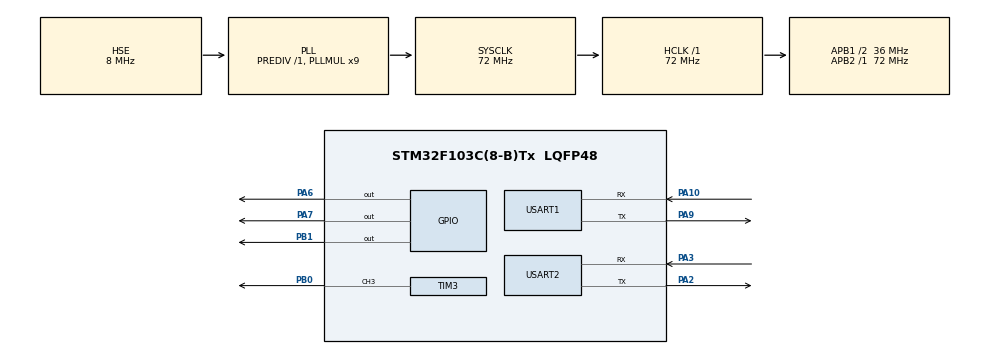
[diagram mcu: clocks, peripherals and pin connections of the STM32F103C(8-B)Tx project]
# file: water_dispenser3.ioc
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Dma.Request0=USART1_RX
Dma.USART1_RX.0.Direction=DMA_PERIPH_TO_MEMORY
Dma.USART1_RX.0.Instance=DMA1_Channel5
Dma.USART1_RX.0.MemDataAlignment=DMA_MDATAALIGN_BYTE
Dma.USART1_RX.0.MemInc=DMA_MINC_ENABLE
Dma.USART1_RX.0.Mode=DMA_CIRCULAR
Dma.USART1_RX.0.PeriphDataAlignment=DMA_PDATAALIGN_BYTE
Dma.USART1_RX.0.PeriphInc=DMA_PINC_DISABLE
Dma.USART1_RX.0.Priority=DMA_PRIORITY_HIGH
Mcu.Family=STM32F1
Mcu.Name=STM32F103C(8-B)Tx
Mcu.Package=LQFP48
NVIC.DMA1_Channel5_IRQn=true\:0\:0\:false\:false\:true\:false\:true\:true
NVIC.PriorityGroup=NVIC_PRIORITYGROUP_4
NVIC.USART1_IRQn=true\:0\:0\:false\:false\:true\:true\:true\:true
PA10.Mode=Asynchronous
PA10.Signal=USART1_RX
PA13.Mode=Serial_Wire
PA13.Signal=SYS_JTMS-SWDIO
PA14.Mode=Serial_Wire
PA14.Signal=SYS_JTCK-SWCLK
PA2.Mode=Asynchronous
PA2.Signal=USART2_TX
PA3.Mode=Asynchronous
PA3.Signal=USART2_RX
PA6.Signal=GPIO_Output
PA7.Signal=GPIO_Output
PA9.Mode=Asynchronous
PA9.Signal=USART1_TX
PB0.Signal=S_TIM3_CH3
PB1.Signal=GPIO_Output
PD0-OSC_IN.Mode=HSE-External-Oscillator
PD0-OSC_IN.Signal=RCC_OSC_IN
PD1-OSC_OUT.Mode=HSE-External-Oscillator
PD1-OSC_OUT.Signal=RCC_OSC_OUT
ProjectManager.HeapSize=0x200
ProjectManager.StackSize=0x400
ProjectManager.TargetToolchain=STM32CubeIDE
RCC.AHBFreq_Value=72000000
RCC.APB1CLKDivider=RCC_HCLK_DIV2
RCC.APB1Freq_Value=36000000
RCC.APB1TimFreq_Value=72000000
RCC.APB2Freq_Value=72000000
RCC.APB2TimFreq_Value=72000000
RCC.HCLKFreq_Value=72000000
RCC.PLLMUL=RCC_PLL_MUL9
RCC.PLLSourceVirtual=RCC_PLLSOURCE_HSE
RCC.SYSCLKFreq_VALUE=72000000
RCC.SYSCLKSource=RCC_SYSCLKSOURCE_PLLCLK
RCC.USBFreq_Value=72000000
SH.S_TIM3_CH3.0=TIM3_CH3,PWM Generation3 CH3
TIM3.Channel-PWM\ Generation3\ CH3=TIM_CHANNEL_3
TIM3.Period=999
TIM3.Prescaler=35
TIM3.Pulse-PWM\ Generation3\ CH3=850
USART1.VirtualMode=VM_ASYNC
USART2.VirtualMode=VM_ASYNC
VP_TIM3_VS_ClockSourceINT.Mode=Internal
board=custom

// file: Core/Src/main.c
/* USER CODE BEGIN Header */
/**
  ******************************************************************************
  * @file           : main.c
  * @brief          : Main program body
  * @version        : 5.6
  * @note           : 增加了自动重启机制
  ******************************************************************************
  * @attention
  *
  * Copyright (c) 2025 STMicroelectronics.
  * All rights reserved.
  *
  * This software is licensed under terms that can be found in the LICENSE file
  * in the root directory of this software component.
  * If no LICENSE file comes with this software, it is provided AS-IS.
  *
  ******************************************************************************
  */
/* USER CODE END Header */
#include "main.h"
#include "dma.h"
#include "tim.h"
#include "usart.h"
#include "gpio.h"

/* USER CODE BEGIN Includes */
#include <string.h>
#include <stdarg.h>
#include <stdio.h>
#include <stdbool.h>
#include "ultrasonic_threshold.h"
/* USER CODE END Includes */

/* USER CODE BEGIN PTD */

// 在这里设置开关： 1 = PWM模式, 0 = GPIO模式
#define USE_PWM_MODE 1

// 水泵启停函数
void pump_start(void);
void pump_stop(void);

/* USER CODE END PTD */

/* USER CODE BEGIN PV */

/* -------- 调试和测试开关 -------- */
#define DEBUG_ENABLE 1       // 调试输出开关
#define TEST_MODE_ENABLE 0   // 测试模式（上位机测试时设为1）

// [新增] 无解析超时复位配置
#define NO_PARSE_RESET_MS            10000  // 10秒未成功解析则执行恢复
#define USE_HARD_RESET_ON_NO_PARSE   1      // 1=整机复位(NVIC_SystemReset)，0=仅复位传感器

#if DEBUG_ENABLE
  #define DEBUG_PRINT(fmt, ...) debug_printf(fmt, ##__VA_ARGS__)
#else
  #define DEBUG_PRINT(fmt, ...) ((void)0)
#endif

/* -------- DMA接收缓冲区 -------- */
#define DMA_RX_BUF_SIZE 2048
static uint8_t dma_rx_buf[DMA_RX_BUF_SIZE];
static uint16_t dma_last_pos = 0;

// [新增] 记录最后一次成功解析时间戳
static uint32_t last_parse_ok_ms = 0;

/* -------- 解析缓冲区 -------- */
#define PARSE_BUF_SIZE 2048
static uint8_t parse_buf[PARSE_BUF_SIZE];
static uint16_t parse_len = 0;

/* -------- 数据结构 -------- */
#define S_COUNT 224

typedef struct {
  int a;
  int b;
  int s[S_COUNT];
  bool valid;
} SensorFrame;

static SensorFrame current_frame;

/* -------- 移动平均 -------- */
#define MAX_MA_WINDOW 16
static int a_hist[MAX_MA_WINDOW];
static uint32_t a_sum = 0;
static uint16_t a_hist_count = 0;
static uint16_t a_hist_pos = 0;
static int a_filtered = 0;
static uint16_t a_ma_window = 16;
static int last_a=0;
static bool a_changed = false;
// 新增：记录最近一次的 b，以及是否需要强回波校验
static int last_b = 0;
static bool require_strong_echo = false;

/* -------- 状态机 -------- */
typedef enum {
  STATE_DETECT = 0,
  STATE_CONFIGURE,
  STATE_VERIFY,     // <-- [新状态] 阈值验证阶段
  STATE_MEASURE,
  STATE_WAIT
} AppState;

static AppState app_state = STATE_DETECT;

/* -------- 状态切换确认机制 -------- */
#define DETECT_CONFIRM_COUNT_MAX 15
#define WAIT_CONFIRM_COUNT_MAX 3
#define MEASURE_CONFIRM_COUNT_MAX 2
#define MEASURE_GRACE_MS 4000      // 测量阶段进入后的降敏时间窗
static int state_confirm_count = 0;
#define VERIFY_COUNT_MAX 8      // <-- [新定义] 验证阶段的连续确认次数
static int verify_confirm_count = 0; // <-- [新变量] 验证计数器
static uint32_t measure_enter_ms = 0; // 记录进入MEASURE的时间，用于降敏

/* -------- 配置参数 -------- */
static int x_param = 60;
static int t1_param = 400;
static int y_param =152;
static int t2_param =250;
static int edge_distance = 160;
static int alarm_distance_check = 0; // 用于VERIFY阶段的距离判断 (x*430/225)
static int stop_distance = 0;        // MEASURE阶段使用的停止距离

/* 阈值 */
#define THRESH_DETECT_STOP   250
#define THRESH_MEASURE_HIGH  295

/* -------- 测试统计 -------- */
#if TEST_MODE_ENABLE
static uint32_t test_frame_count = 0;
static uint32_t test_parse_fail = 0;
static uint32_t test_last_report = 0;
#endif

/* -------- 函数声明 -------- */
static void uart_dma_start(void);
static uint16_t dma_get_pos(void);
static void dma_rx_flush(void);
static void process_dma_data(void);
static bool parse_sensor_frame(const uint8_t *data, uint16_t len, SensorFrame *frame);
static int  find_last_frame_start(const uint8_t *data, uint16_t len);
static void clear_parse_buffer(void);
static void update_a_moving_average(int a, uint16_t window);
static void reset_moving_average(void);
static void send_at(const char *fmt, ...);
static bool wait_for_ok(uint32_t timeout_ms);
static void debug_printf(const char *fmt, ...);

// [新增] 恢复函数声明
static void system_hard_reset(void);
static void sensor_soft_recover(void);

/* USER CODE END PV */

void SystemClock_Config(void);

/* USER CODE BEGIN 0 */

/* 启动DMA接收 */
static void uart_dma_start(void)
{
  HAL_UART_Receive_DMA(&huart1, dma_rx_buf, DMA_RX_BUF_SIZE);
}

/* 获取当前DMA写指针位置（环形缓冲） */
static uint16_t dma_get_pos(void)
{
  return (uint16_t)(DMA_RX_BUF_SIZE - __HAL_DMA_GET_COUNTER(huart1.hdmarx));
}

/* 刷新读取指针：丢弃环形缓冲中的未读数据 */
static void dma_rx_flush(void)
{
  dma_last_pos = dma_get_pos();
}

/* 处理DMA接收的数据，追加到解析缓冲 */
static void process_dma_data(void)
{
  uint16_t current_pos = dma_get_pos();

  if (current_pos != dma_last_pos) {
    if (current_pos > dma_last_pos) {
      // 未发生环绕
      uint16_t data_len = current_pos - dma_last_pos;
      if (parse_len + data_len < PARSE_BUF_SIZE) {
        memcpy(&parse_buf[parse_len], &dma_rx_buf[dma_last_pos], data_len);
        parse_len += data_len;
      } else {
        clear_parse_buffer();
      }
    } else {
      // 发生环绕
      uint16_t len1 = DMA_RX_BUF_SIZE - dma_last_pos;
      uint16_t len2 = current_pos;
      if (parse_len + len1 + len2 < PARSE_BUF_SIZE) {
        memcpy(&parse_buf[parse_len], &dma_rx_buf[dma_last_pos], len1);
        parse_len += len1;
        memcpy(&parse_buf[parse_len], &dma_rx_buf[0], len2);
        parse_len += len2;
      } else {
        clear_parse_buffer();
      }
    }

    dma_last_pos = current_pos;
  }
}

/* 清空解析缓冲区 */
static void clear_parse_buffer(void)
{
  memset(parse_buf, 0, parse_len);
  parse_len = 0;
}

/* 查找最后一个 'a:' 的起始位置 */
static int find_last_frame_start(const uint8_t *data, uint16_t len)
{
  if (!data || len < 2) return -1;
  for (int i = (int)len - 2; i >= 0; i--) {
    if (data[i] == 'a' && data[i+1] == ':') {
      return i;
    }
  }
  return -1;
}

/* 严格解析：a/b 仅数字；s 仅 [0-9,] 和 行结束符 */
static bool parse_sensor_frame(const uint8_t *data, uint16_t len, SensorFrame *frame)
{
  if (!data || !frame || len < 50) {
    return false;
  }

  // 转成以0结尾字符串
  static char str_buf[PARSE_BUF_SIZE + 1];
  uint16_t copy_len = (len < PARSE_BUF_SIZE) ? len : PARSE_BUF_SIZE;
  memcpy(str_buf, data, copy_len);
  str_buf[copy_len] = '\0';

  // 必须从缓冲区起始位置就是一帧的起点 "a:"
  if (copy_len < 2 || str_buf[0] != 'a' || str_buf[1] != ':') {
    return false;
  }

  // 定位 a:, b:, s:
  char *p_a = str_buf;       // 起始必须是 "a:"
  char *p_b = strstr(p_a + 2, "b:");
  if (!p_b) { return false; }
  char *p_s = strstr(p_b + 2, "s:");
  if (!p_s) { return false; }

  // 解析 a（仅数字）
  frame->a = 0;
  p_a += 2;
  if (*p_a < '0' || *p_a > '9') { return false; }
  while (*p_a >= '0' && *p_a <= '9') { frame->a = frame->a * 10 + (*p_a - '0'); p_a++; }

  // 解析 b（仅数字）
  frame->b = 0;
  p_b += 2;
  if (*p_b < '0' || *p_b > '9') { return false; }
  while (*p_b >= '0' && *p_b <= '9') { frame->b = frame->b * 10 + (*p_b - '0'); p_b++; }

  // 解析 s（仅 [0-9,]，遇到其他字符直接失败；行结束 \r 或 \n 结束解析）
  p_s += 2;
  int s_count = 0;
  int num = 0;
  bool reading_num = false;

  while (*p_s != '\0' && s_count < S_COUNT) {
    char c = *p_s;
    if (c >= '0' && c <= '9') {
      reading_num = true;
      num = num * 10 + (c - '0');
    } else if (c == ',') {
      if (!reading_num) { return false; }
      frame->s[s_count++] = num;
      num = 0;
      reading_num = false;
    } else if (c == '\r' || c == '\n') {
      if (reading_num) {
        frame->s[s_count++] = num;
        num = 0;
        reading_num = false;
      }
      break; // 行结束
    } else {
      // 空格、负号、字母等一律视为非法
      return false;
    }
    p_s++;
  }

  //测试发现有时s_count会卡在223，原因暂未知
  //临时解决方案：直接将最后一位填为0
  if (s_count == S_COUNT-1){
	  frame->s[s_count++] = 0;
  }

  if (s_count >= S_COUNT) {
    frame->valid = true;
    return true;
  }

  return false;
}

/* 更新移动平均 */
static void update_a_moving_average(int a, uint16_t window)
{
  if (window > MAX_MA_WINDOW) window = MAX_MA_WINDOW;
  a_ma_window = window;

  if (a_hist_count < a_ma_window) {
    a_sum += a;
    a_hist[a_hist_pos++] = a;
    if (a_hist_pos >= a_ma_window) a_hist_pos = 0;
    a_hist_count++;
  } else {
    a_sum -= a_hist[a_hist_pos];
    a_sum += a;
    a_hist[a_hist_pos] = a;
    a_hist_pos++;
    if (a_hist_pos >= a_ma_window) a_hist_pos = 0;
  }

  a_filtered = (a_hist_count > 0) ? (int)(a_sum / a_hist_count) : a;
}

/* 重置移动平均 */
static void reset_moving_average(void)
{
  memset(a_hist, 0, sizeof(a_hist));
  a_sum = 0;
  a_hist_count = 0;
  a_hist_pos = 0;
  a_filtered = 0;
}

/* 发送AT命令 */
static void send_at(const char *fmt, ...)
{
  char buf[64];
  va_list ap;
  va_start(ap, fmt);
  int n = vsnprintf(buf, sizeof(buf), fmt, ap);
  va_end(ap);

  if (n > 0 && n < (int)sizeof(buf)) {
    HAL_UART_Transmit(&huart1, (uint8_t*)buf, (uint16_t)n, 100);
    DEBUG_PRINT("[TX] %s", buf);
  }
}

/* 等待OK响应（不污染全局 dma_last_pos，成功后统一 flush） */
static bool wait_for_ok(uint32_t timeout_ms)
{
  uint32_t start = HAL_GetTick();
  static uint8_t ok_buf[64];
  uint16_t ok_len = 0;
  uint16_t search_start_pos = 0;

  uint16_t ok_last_pos = dma_get_pos(); // 本地读指针

  while ((HAL_GetTick() - start) < timeout_ms) {
    uint16_t current_pos = dma_get_pos();

    if (current_pos != ok_last_pos) {
      if (current_pos > ok_last_pos) {
        uint16_t len = current_pos - ok_last_pos;
        for (uint16_t i = 0; i < len && ok_len < sizeof(ok_buf) - 1; i++) {
          ok_buf[ok_len++] = dma_rx_buf[ok_last_pos + i];
        }
      } else {
        uint16_t len1 = DMA_RX_BUF_SIZE - ok_last_pos;
        uint16_t len2 = current_pos;
        for (uint16_t i = 0; i < len1 && ok_len < sizeof(ok_buf) - 1; i++) {
          ok_buf[ok_len++] = dma_rx_buf[ok_last_pos + i];
        }
        for (uint16_t i = 0; i < len2 && ok_len < sizeof(ok_buf) - 1; i++) {
          ok_buf[ok_len++] = dma_rx_buf[i];
        }
      }
      ok_last_pos = current_pos;

      // 搜索 "OK"
      for (uint16_t i = search_start_pos; i + 1 < ok_len; i++) {
        if (ok_buf[i] == 'O' && ok_buf[i+1] == 'K') {
          DEBUG_PRINT("[AT] OK received\r\n");
          dma_rx_flush(); // 丢弃OK/回显，不让其进入 parse_buf
          return true;
        }
      }
      search_start_pos = (ok_len > 1) ? (ok_len - 1) : 0;
    }

    HAL_Delay(1);
  }
  DEBUG_PRINT("[AT] OK timeout\r\n");
  return false;
}

/* 调试输出 */
static void debug_printf(const char *fmt, ...)
{
#if DEBUG_ENABLE
  char buf[256];
  va_list ap;
  va_start(ap, fmt);
  int n = vsnprintf(buf, sizeof(buf), fmt, ap);
  va_end(ap);
  if (n > 0 && n < (int)sizeof(buf)) {
    HAL_UART_Transmit(&huart2, (uint8_t*)buf, (uint16_t)n, 100);
  }
#endif
}

/* USER CODE END 0 */

int main(void)
{

  /* MCU Configuration--------------------------------------------------------*/

  /* Reset of all peripherals, Initializes the Flash interface and the Systick. */
  HAL_Init();

  /* Configure the system clock */
  SystemClock_Config();

  /* Initialize all configured peripherals */
  MX_GPIO_Init();
  MX_DMA_Init();
  MX_USART1_UART_Init();
  MX_USART2_UART_Init();
  MX_TIM3_Init();
  /* USER CODE BEGIN 2 */
#if (USE_PWM_MODE == 1)
  // PWM 模式：什么也不用做，CubeIDE 已经初始化好了
  // 我们将在 pump_start() 中启动它
#else
  // GPIO 模式：手动将 PB0 重新初始化为标准 GPIO 输出
  GPIO_InitTypeDef GPIO_InitStruct = {0};
  GPIO_InitStruct.Pin = GPIO_PIN_0;
  GPIO_InitStruct.Mode = GPIO_MODE_OUTPUT_PP;
  GPIO_InitStruct.Pull = GPIO_NOPULL;
  GPIO_InitStruct.Speed = GPIO_SPEED_FREQ_LOW;
  HAL_GPIO_Init(GPIOB, &GPIO_InitStruct);

  // 可以在这里设置一个默认的初始状态
  HAL_GPIO_WritePin(GPIOB, GPIO_PIN_0, GPIO_PIN_RESET); // 默认停止(低电平)
#endif

  uart_dma_start();

#if !TEST_MODE_ENABLE
  HAL_Delay(100);
//  send_at("AT+RESET\r\n");
//  wait_for_ok(1000);
  send_at("AT+STOP\r\n");
  wait_for_ok(200);
  dma_rx_flush();

  send_at("AT+DEBUG=1\r\n");
  wait_for_ok(500);

//  send_at("AT+S3=60\r\n");
//  wait_for_ok(500);
//
//  send_at("AT+T2=400\r\n");
//  wait_for_ok(500);
//
//  send_at("AT+S4=152\r\n");
//  wait_for_ok(500);
//
//  send_at("AT+T3=250\r\n");
//  wait_for_ok(500);

  send_at("AT+REBOOT\r\n");
  wait_for_ok(500);
  dma_rx_flush(); // 丢弃启动回显/提示
#endif
  HAL_GPIO_WritePin(GPIOB, GPIO_PIN_1, GPIO_PIN_RESET);
  HAL_GPIO_WritePin(GPIOA, GPIO_PIN_6, GPIO_PIN_RESET);
  HAL_GPIO_WritePin(GPIOA, GPIO_PIN_7, GPIO_PIN_RESET);

  app_state = STATE_DETECT;
  current_frame.valid = false;

  // [新增] 初始化“最后一次成功解析时间”为当前时间，避免上电即触发
  last_parse_ok_ms = HAL_GetTick();

  DEBUG_PRINT("\r\n=== System Init OK ===\r\n");

  uint32_t last_process = HAL_GetTick();
  uint32_t frame_timeout = HAL_GetTick();
  /* USER CODE END 2 */

  /* Infinite loop */
  /* USER CODE BEGIN WHILE */
  while (1)
  {
	    uint32_t now = HAL_GetTick();

	    // 定期处理DMA数据
	    if (now - last_process >= 50) {
	      last_process = now;
	      process_dma_data();

	      // 解析尝试
	      if (parse_len > 50) {
	        // 如果解析成功
	        if (parse_sensor_frame(parse_buf, parse_len, &current_frame)) {
	          #if TEST_MODE_ENABLE
	          test_frame_count++;
	          #endif

	          update_a_moving_average(current_frame.a, a_ma_window);
	          last_a = current_frame.a;
	          last_b = current_frame.b;           // 新增：记录最近的 b
	          a_changed = true;

	          // [新增] 记录成功解析时间
	          last_parse_ok_ms = now;

	          // 解析成功：从缓冲区中移除“最后一个 a:”之前的数据
	          int cut = find_last_frame_start(parse_buf, parse_len);
	          if (cut > 0) {
	            uint16_t remain = parse_len - (uint16_t)cut;
	            memmove(parse_buf, parse_buf + cut, remain);
	            parse_len = remain;
	          } else {
	            // 仅有当前这帧的 a:，清空缓冲
	            clear_parse_buffer();
	          }

	          frame_timeout = now;
	          DEBUG_PRINT("a=%d, a_filtered=%d, [PARSE] SUCCESS\r\n", current_frame.a, a_filtered);

	        } else {
	          #if TEST_MODE_ENABLE
	          test_parse_fail++;
	          #endif

              if (current_frame.a != last_a){
	        	update_a_moving_average(current_frame.a, a_ma_window);
	        	last_a = current_frame.a;
                a_changed = true;
                DEBUG_PRINT("a=%d, a_filtered=%d\r\n", current_frame.a, a_filtered);
	            }

	          // 解析失败：尝试剪到最后一个 a:
	          int cut = find_last_frame_start(parse_buf, parse_len);
	          if (cut > 0) {
	            uint16_t remain = parse_len - (uint16_t)cut;
	            memmove(parse_buf, parse_buf + cut, remain);
	            parse_len = remain;
	          }

	          // 超时或过满则清空
	          if (now - frame_timeout > 2000) {
	            clear_parse_buffer();
	            frame_timeout = now;
	          } else if (parse_len > 1500) {
	            clear_parse_buffer();
	            frame_timeout = now;
	          }
	        }

	      }

	      // 测试统计
	      #if TEST_MODE_ENABLE
	      if (now - test_last_report > 5000) {
	        test_last_report = now;
	        DEBUG_PRINT("\r\n--- Test Report ---\r\n");
	        DEBUG_PRINT("Frames OK: %lu\r\n", test_frame_count);
	        DEBUG_PRINT("Parse fail: %lu\r\n", test_parse_fail);
	        DEBUG_PRINT("a_filtered: %d\r\n", a_filtered);
	        DEBUG_PRINT("State: %d\r\n\r\n", app_state);
	      }
	      #endif
	    }

        // [新增] 无新数据解析看门狗：10秒无成功解析则恢复
        if ((HAL_GetTick() - last_parse_ok_ms) > NO_PARSE_RESET_MS) {
          DEBUG_PRINT("[WATCHDOG] No parsed frame for %lu ms, perform %s reset\r\n",
                      (unsigned long)(HAL_GetTick() - last_parse_ok_ms),
                      (USE_HARD_RESET_ON_NO_PARSE ? "MCU" : "sensor"));
          if (USE_HARD_RESET_ON_NO_PARSE) {
            system_hard_reset(); // 不会返回
          } else {
            sensor_soft_recover(); // 仅复位传感器，继续运行
            last_parse_ok_ms = HAL_GetTick(); // 避免立刻再次触发
          }
        }

	  // 状态机
  #if !TEST_MODE_ENABLE  // 正常模式才运行状态机
	  switch (app_state) {
		case STATE_DETECT:
		{
		  a_ma_window = 16;

		  if (current_frame.valid) {
			if (a_filtered < THRESH_DETECT_STOP) {
			  state_confirm_count++;

			  if (state_confirm_count >= DETECT_CONFIRM_COUNT_MAX) {
				DEBUG_PRINT("[DETECT->CONFIGURE] Confirmed!\r\n");

				send_at("AT+STOP\r\n");
				wait_for_ok(200);
				dma_rx_flush();

				app_state = STATE_CONFIGURE;

				state_confirm_count = 0;
			  }
			} else {
			  state_confirm_count = 0;
			}

			current_frame.valid = false;
		  }
		  break;
		}

		case STATE_CONFIGURE:
		{
		  // 调用超声波阈值算法
		  ThresholdResult_t thresh_result;
		  int16_t s_array[S_COUNT];
		  for (int i = 0; i < S_COUNT; i++) {
		    s_array[i] = (int16_t)current_frame.s[i];
		  }

		  compute_thresholds(s_array, S_COUNT, &thresh_result);

		  DEBUG_PRINT("\r\n=== CONFIGURE RESULT ===\r\n");
		  DEBUG_PRINT("edge_idx: %d\r\n", thresh_result.edge_idx);
		  DEBUG_PRINT("liquid_idx: %d\r\n", thresh_result.liquid_idx);
		  DEBUG_PRINT("x: %d\r\n", thresh_result.x);
		  DEBUG_PRINT("t1: %d\r\n", thresh_result.t1);
		  DEBUG_PRINT("y: %d\r\n", thresh_result.y);
		  DEBUG_PRINT("t2: %d\r\n", thresh_result.t2);
		  DEBUG_PRINT("peak_count: %d\r\n", thresh_result.peak_count);
		  DEBUG_PRINT("edge_extension: %d\r\n", thresh_result.edge_extension); // <-- 新增打印

		  // 检查是否检测到容器
		  if (thresh_result.edge_idx < 0 || thresh_result.liquid_idx < 0) {
		    DEBUG_PRINT("[CONFIGURE] No container detected, skip to WAIT\r\n");
		    DEBUG_PRINT("========================\r\n\r\n");

            HAL_GPIO_WritePin(GPIOA, GPIO_PIN_6, GPIO_PIN_SET);

		    send_at("AT+REBOOT\r\n");
		    wait_for_ok(500);
            dma_rx_flush(); // 丢弃启动回显/提示

		    reset_moving_average();
		    a_ma_window = 16;
		    state_confirm_count = 0;
		    current_frame.valid = false;
            stop_distance = 0; // <-- 无容器时重置，避免旧值残留

		    app_state = STATE_WAIT;
		    break;
		  }

		  // 计算参数
		  x_param = thresh_result.x;
		  t1_param = thresh_result.t1;
		  y_param = thresh_result.y;
		  t2_param = thresh_result.t2;
		  edge_distance = (int)((thresh_result.edge_idx * 430) / 225);
		  // [新逻辑] 计算VERIFY阶段要使用的距离阈值 (来自 x_param)
		  alarm_distance_check = (int)((x_param * 430) / 225);

          DEBUG_PRINT("Calculated edge_distance: %d\r\n", edge_distance);
          // [新逻辑] 打印VERIFY的阈值
          DEBUG_PRINT("Calculated alarm_distance_check: %d\r\n", alarm_distance_check);

          // [新逻辑] 计算 stop_distance
          if (thresh_result.edge_extension == 0) {
            stop_distance = (int)(((x_param + 1) * 430) / 225);
          } else {
            stop_distance = edge_distance + 20;
          }
          // 新增：在 edge_extension==0 时启用强回波校验
          require_strong_echo = (thresh_result.edge_extension == 0);
          DEBUG_PRINT("Calculated stop_distance: %d, strong_echo_check=%d\r\n", stop_distance, require_strong_echo);
          DEBUG_PRINT("========================\r\n\r\n");

		  send_at("AT+S3=%d\r\n", x_param);
		  wait_for_ok(500);

		  send_at("AT+S4=%d\r\n", y_param);
		  wait_for_ok(500);

		  send_at("AT+T2=%d\r\n", t1_param);
		  wait_for_ok(500);

		  send_at("AT+T3=%d\r\n", t2_param);
		  wait_for_ok(500);

		  send_at("AT+REBOOT\r\n");
		  wait_for_ok(500);
		  dma_rx_flush();

		  reset_moving_average();
		  a_ma_window = 3; // 验证和测量阶段使用快速均值
		  state_confirm_count = 0;
		  verify_confirm_count = 0; // [新逻辑] 重置验证计数器
		  current_frame.valid = false;

          HAL_GPIO_WritePin(GPIOA, GPIO_PIN_7, GPIO_PIN_SET);

		  app_state = STATE_VERIFY; // [修改] 下一状态改为VERIFY
		  DEBUG_PRINT("[CONFIGURE->VERIFY]\r\n");
		  break;
		}

        /* --- [新状态] --- */
		case STATE_VERIFY:
		{
		  // 保持在3点均值，快速响应
		  a_ma_window = 3;

		  if (current_frame.valid) {
			int raw_a = current_frame.a;
			int raw_b = current_frame.b;
			current_frame.valid = false;

			// 检查：原始a值是否 < 我们根据x设置的距离阈值
			// 如果是，说明t1阈值被边沿噪声突破了
			if (raw_a <= alarm_distance_check) {
			  // 失败：检测到回波 < 设定值
			  DEBUG_PRINT("[VERIFY] Failed! a=%d < %d. Adjusting T1.\r\n", raw_a, alarm_distance_check);

			  // 按要求增加阈值 = b + 50
              if (raw_b > t1_param){
                t1_param = raw_b + 50;
              }
              else {
                t1_param += 20; // 保底增加20
              }

			  DEBUG_PRINT("[VERIFY] New t1_param = %d\r\n", t1_param);

			  // 停止
			  send_at("AT+STOP\r\n");
			  wait_for_ok(200);
			  dma_rx_flush();

			  // 重新配置T1 (对应AT+T2)
			  send_at("AT+T2=%d\r\n", t1_param);
			  wait_for_ok(500);
			  dma_rx_flush();

			  // 重启
			  send_at("AT+REBOOT\r\n");
			  wait_for_ok(150);
			  dma_rx_flush();

			  // 重置计数和均值
			  verify_confirm_count = 0;
			  reset_moving_average();

			} else {
			  // 成功：未检测到突破
			  verify_confirm_count++;
			  DEBUG_PRINT("[VERIFY] OK (%d/%d). a=%d\r\n", verify_confirm_count, VERIFY_COUNT_MAX, raw_a);

			  if (verify_confirm_count >= VERIFY_COUNT_MAX) {
				// 连续8次成功，进入测量
				DEBUG_PRINT("[VERIFY->MEASURE] Verification complete!\r\n");

				app_state = STATE_MEASURE;

				verify_confirm_count = 0; // 重置验证计数
				state_confirm_count = 0;  // 重置状态计数
				reset_moving_average();   // 测量阶段重新开始计算均值
				a_ma_window = 3;          // 确保测量阶段是3点均值
        measure_enter_ms = now; // 记录进入时间，刚开始降敏
				pump_start();
			  }
			}
		  }
		  break;
		}
        /* --- [新状态结束] --- */

		case STATE_MEASURE:
		{
          if (a_hist_count >= a_ma_window) { // a_ma_window 此时为 3
            // 新增：组合触发条件
            int b_threshold = t1_param / 3;
            bool stop_cond = (a_filtered < stop_distance);
            if (require_strong_echo) {
              stop_cond = stop_cond && (last_b > b_threshold);
            }

            bool measure_armed = (measure_enter_ms != 0) && ((now - measure_enter_ms) >= MEASURE_GRACE_MS);

            if (measure_armed && stop_cond) {
              if (a_changed){
                state_confirm_count++;
                a_changed = false;

                if (state_confirm_count >= MEASURE_CONFIRM_COUNT_MAX ) {
                  DEBUG_PRINT("[MEASURE->WAIT] ALERT ON! a_f=%d < %d, b=%d > %d, strong=%d\r\n",
                              a_filtered, stop_distance, last_b, b_threshold, require_strong_echo);
                  pump_stop();
                  HAL_GPIO_WritePin(GPIOA, GPIO_PIN_7, GPIO_PIN_RESET);
                  HAL_GPIO_WritePin(GPIOA, GPIO_PIN_6, GPIO_PIN_SET);

                  send_at("AT+STOP\r\n");
                  wait_for_ok(100);
                  dma_rx_flush();

//                  send_at("AT+DEBUG=1\r\n");
//                  wait_for_ok(200);
//                  // 恢复默认阈值
//                  send_at("AT+S3=60\r\n");
//                  wait_for_ok(200);
//
//                  send_at("AT+T2=400\r\n");
//                  wait_for_ok(200);
//
//                  send_at("AT+S4=152\r\n");
//                  wait_for_ok(200);

                  send_at("AT+T3=250\r\n");
                  wait_for_ok(200);

                  send_at("AT+REBOOT\r\n");
                  wait_for_ok(500);
                  dma_rx_flush();

                  reset_moving_average();
                  a_ma_window = 16;
                  current_frame.valid = false;

                  app_state = STATE_WAIT;
                  state_confirm_count = 0;
                }
              }
            } else {
              state_confirm_count = 0;
            }
          }

		  break;
		}

		case STATE_WAIT:
		{
		  if (current_frame.valid) {
			if (a_filtered > THRESH_MEASURE_HIGH) {
			  state_confirm_count++;

			  if (state_confirm_count >= WAIT_CONFIRM_COUNT_MAX) {
				DEBUG_PRINT("[WAIT->DETECT] Reset!\r\n");

				send_at("AT+STOP\r\n");
				wait_for_ok(100);
				dma_rx_flush();

				send_at("AT+DEBUG=1\r\n");
				wait_for_ok(200);
				// 恢复默认阈值
				send_at("AT+S3=60\r\n");
				wait_for_ok(200);

				send_at("AT+T2=400\r\n");
				wait_for_ok(200);

				send_at("AT+S4=152\r\n");
				wait_for_ok(200);

				send_at("AT+T3=250\r\n");
				wait_for_ok(200);

				HAL_GPIO_WritePin(GPIOA, GPIO_PIN_6, GPIO_PIN_RESET);
				HAL_GPIO_WritePin(GPIOA, GPIO_PIN_7, GPIO_PIN_RESET); // [修正] 退出WAIT时应熄灭两个灯

				send_at("AT+REBOOT\r\n");
				wait_for_ok(500);
				dma_rx_flush();

				reset_moving_average();
				a_ma_window = 16;
				state_confirm_count = 0;
				current_frame.valid = false;
                stop_distance = 0; // <-- 复位路径重置
                require_strong_echo = false; // 新增：复位强回波校验

                app_state = STATE_DETECT;
              }
			} else {
			  state_confirm_count = 0;
			}

			current_frame.valid = false;
		  }
		  break;
		}

		default:
		  app_state = STATE_DETECT;
		  break;
	  }
  #endif

	  HAL_Delay(5);
    /* USER CODE END WHILE */

  }
}

void SystemClock_Config(void)
{
  RCC_OscInitTypeDef RCC_OscInitStruct = {0};
  RCC_ClkInitTypeDef RCC_ClkInitStruct = {0};

  /** Initializes the RCC Oscillators according to the specified parameters
  * in the RCC_OscInitTypeDef structure.
  */
  RCC_OscInitStruct.OscillatorType = RCC_OSCILLATORTYPE_HSE;
  RCC_OscInitStruct.HSEState = RCC_HSE_ON;
  RCC_OscInitStruct.HSEPredivValue = RCC_HSE_PREDIV_DIV1;
  RCC_OscInitStruct.HSIState = RCC_HSI_ON;
  RCC_OscInitStruct.PLL.PLLState = RCC_PLL_ON;
  RCC_OscInitStruct.PLL.PLLSource = RCC_PLLSOURCE_HSE;
  RCC_OscInitStruct.PLL.PLLMUL = RCC_PLL_MUL9;
  if (HAL_RCC_OscConfig(&RCC_OscInitStruct) != HAL_OK)
  {
    Error_Handler();
  }

  /** Initializes the CPU, AHB and APB buses clocks
  */
  RCC_ClkInitStruct.ClockType = RCC_CLOCKTYPE_HCLK|RCC_CLOCKTYPE_SYSCLK
                              |RCC_CLOCKTYPE_PCLK1|RCC_CLOCKTYPE_PCLK2;
  RCC_ClkInitStruct.SYSCLKSource = RCC_SYSCLKSOURCE_PLLCLK;
  RCC_ClkInitStruct.AHBCLKDivider = RCC_SYSCLK_DIV1;
  RCC_ClkInitStruct.APB1CLKDivider = RCC_HCLK_DIV2;
  RCC_ClkInitStruct.APB2CLKDivider = RCC_HCLK_DIV1;

  if (HAL_RCC_ClockConfig(&RCC_ClkInitStruct, FLASH_LATENCY_2) != HAL_OK)
  {
    Error_Handler();
  }
}

/* USER CODE BEGIN 4 */
/**
  * @brief 启动水泵（根据宏定义执行 PWM 或 GPIO High）
  */
void pump_start(void)
{
#if (USE_PWM_MODE == 1)
  // PWM 模式：启动 TIM3 的通道3
  HAL_TIM_PWM_Start(&htim3, TIM_CHANNEL_3);
#else
  // GPIO 模式：设置 PB0 为高电平
  HAL_GPIO_WritePin(GPIOB, GPIO_PIN_0, GPIO_PIN_SET);
#endif
}

/**
  * @brief 停止水泵（根据宏定义执行 PWM Stop 或 GPIO Low）
  */
void pump_stop(void)
{
#if (USE_PWM_MODE == 1)
  // PWM 模式：停止 TIM3 的通道3
  HAL_TIM_PWM_Stop(&htim3, TIM_CHANNEL_3);
#else
  // GPIO 模式：设置 PB0 为低电平
  HAL_GPIO_WritePin(GPIOB, GPIO_PIN_0, GPIO_PIN_RESET);
#endif
}

// [新增] 整机软件复位：等效于按下硬复位（由 NVIC 触发）
static void system_hard_reset(void)
{
  DEBUG_PRINT("[WATCHDOG] NVIC_SystemReset()\r\n");
  HAL_Delay(5); // 尽量把日志发出去
  NVIC_SystemReset();
}

// [新增] 仅复位传感器与控制状态，逻辑同 WAIT->DETECT 分支
static void sensor_soft_recover(void)
{
  DEBUG_PRINT("[WATCHDOG] Soft sensor recovery\r\n");

  send_at("AT+STOP\r\n");
  wait_for_ok(100);
  dma_rx_flush();

  send_at("AT+DEBUG=1\r\n");
  wait_for_ok(200);

  // 恢复默认阈值
  send_at("AT+S3=60\r\n");
  wait_for_ok(200);

  send_at("AT+T2=400\r\n");
  wait_for_ok(200);

  send_at("AT+S4=152\r\n");
  wait_for_ok(200);

  send_at("AT+T3=250\r\n");
  wait_for_ok(200);

  HAL_GPIO_WritePin(GPIOA, GPIO_PIN_6, GPIO_PIN_RESET);
  HAL_GPIO_WritePin(GPIOA, GPIO_PIN_7, GPIO_PIN_RESET);

  send_at("AT+REBOOT\r\n");
  wait_for_ok(500);
  dma_rx_flush();

  reset_moving_average();
  a_ma_window = 16;
  state_confirm_count = 0;
  current_frame.valid = false;
  stop_distance = 0;
  require_strong_echo = false;

  app_state = STATE_DETECT;
}
/* USER CODE END 4 */

void Error_Handler(void)
{
  __disable_irq();
  while (1)
  {
  }
}
